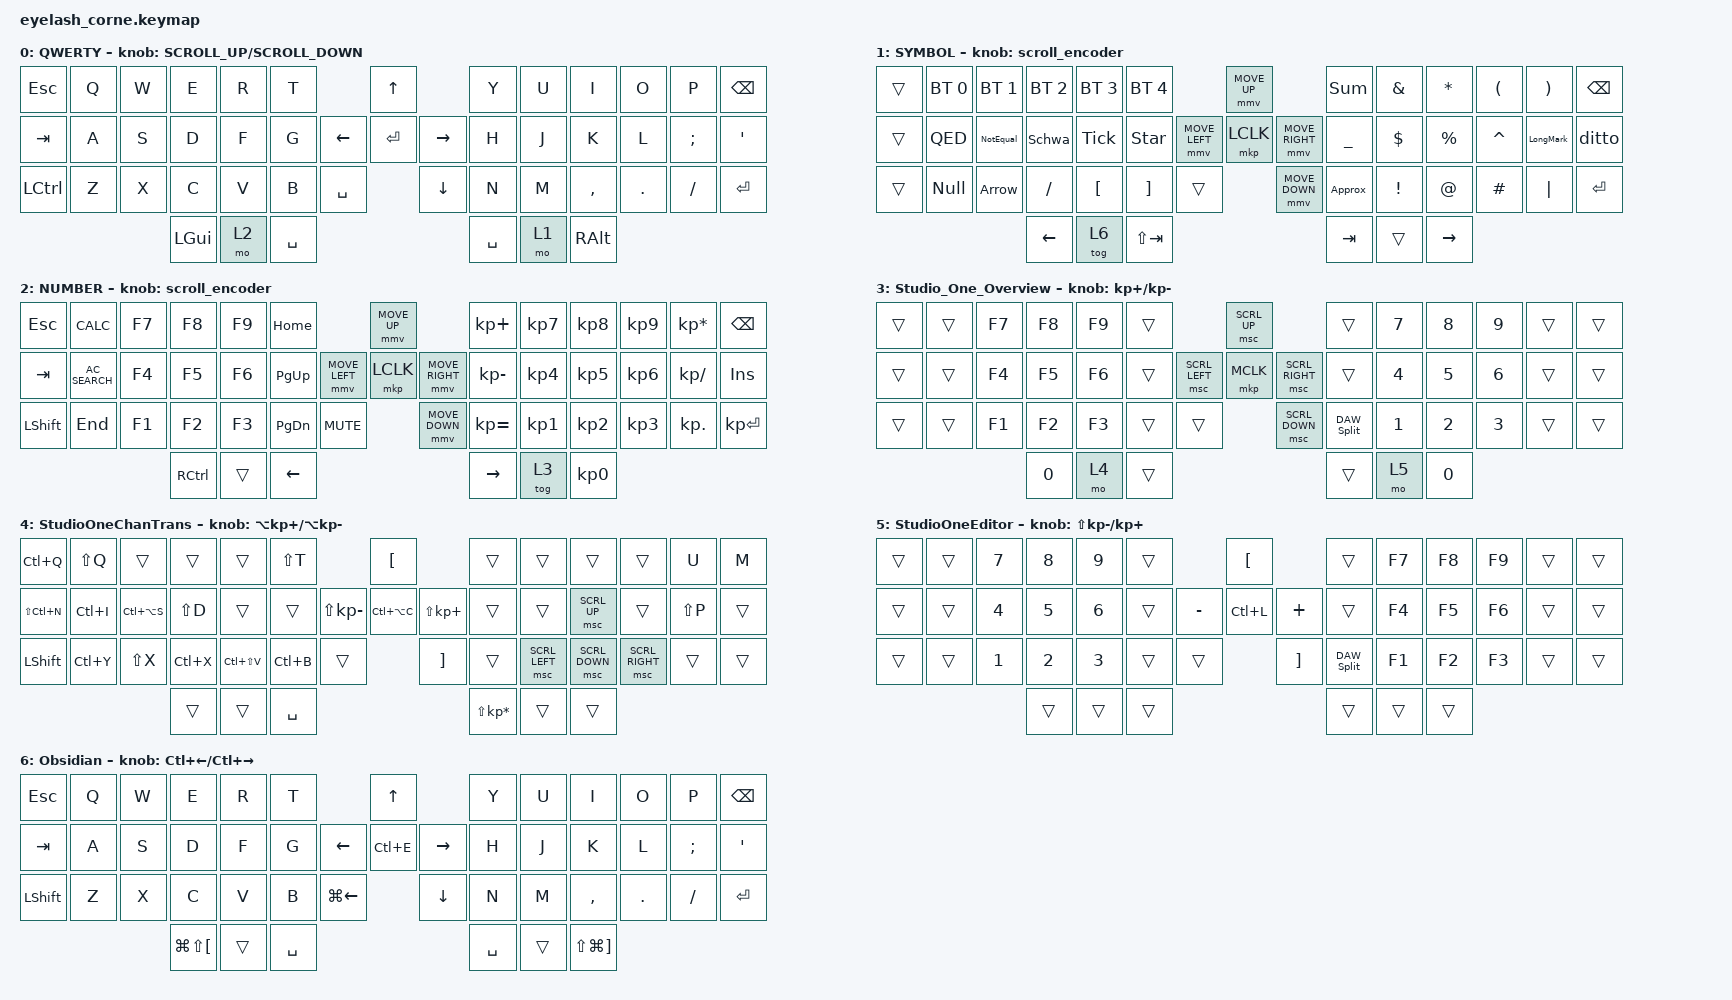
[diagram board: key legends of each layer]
#define ZMK_POINTING_DEFAULT_MOVE_VAL 1200  // 600
#define ZMK_POINTING_DEFAULT_SCRL_VAL 25   // 10

#include <input/processors.dtsi>
#include <zephyr/dt-bindings/input/input-event-codes.h>
#include <behaviors.dtsi>
#include <dt-bindings/zmk/bt.h>
#include <dt-bindings/zmk/keys.h>
#include <dt-bindings/zmk/pointing.h>
#include <dt-bindings/zmk/rgb.h>

&mmv_input_listener { input-processors = <&zip_xy_scaler 2 1>; };

&msc_input_listener { input-processors = <&zip_scroll_scaler 2 1>; };

&msc {
    acceleration-exponent = <1>;      // 0
    time-to-max-speed-ms = <100>;       // 300
    delay-ms = <0>;                   // 0
};

&mmv {
    time-to-max-speed-ms = <500>;
    acceleration-exponent = <1>;
    trigger-period-ms = <16>;
};

&soft_off { hold-time-ms = <2000>; };

/ {
    behaviors {
        td0: td0 {
            compatible = "zmk,behavior-tap-dance";
            display-name = "Shift/Caps Lock Tap Dance";
            #binding-cells = <0>;
            bindings = <&kp LEFT_SHIFT>, <&kp CAPS>;
        };
    };

    rgb_encoder: rgb_encoder {
        compatible = "zmk,behavior-sensor-rotate";
        #sensor-binding-cells = <0>;
        bindings = <&rgb_ug RGB_BRI>, <&rgb_ug RGB_BRD>;
    };

    scroll_encoder: scroll_encoder {
        compatible = "zmk,behavior-sensor-rotate";
        #sensor-binding-cells = <0>;
        bindings = <&msc SCRL_DOWN>, <&msc SCRL_UP>;

        tap-ms = <100>;
    };

    combos {
        compatible = "zmk,combos";

        softoff {
            bindings = <&soft_off>;
            key-positions = <1 15 29>;
        };
    };

    macros {
        Null: Null {
            compatible = "zmk,behavior-macro";
            #binding-cells = <0>;
            bindings = <&kp LT &kp O &kp S &kp L &kp A &kp S &kp H &kp GT>;
            label = "NULL";
        };

        Arrow: Arrow {
            compatible = "zmk,behavior-macro";
            #binding-cells = <0>;
            bindings = <&none &kp LT &kp MINUS &kp GT &kp GT>;
            label = "ARROW";
        };

        Star: Star {
            compatible = "zmk,behavior-macro";
            #binding-cells = <0>;
            bindings = <&none &kp LT &kp S &kp T &kp A &kp R &kp N1 &kp GT>;
            label = "STAR";
        };

        Tick: Tick {
            compatible = "zmk,behavior-macro";
            #binding-cells = <0>;
            bindings = <&none &kp LT &kp T &kp I &kp C &kp K &kp GT>;
            label = "TICK";
        };

        Schwa: Schwa {
            compatible = "zmk,behavior-macro";
            #binding-cells = <0>;
            bindings = <&none &kp LT &kp S &kp C &kp H &kp W &kp A &kp GT>;
            label = "SCHWA";
        };

        LongMark: LongMark {
            compatible = "zmk,behavior-macro";
            #binding-cells = <0>;
            bindings = <&none &kp LT &kp COLON &kp GT>;
            label = "LONGMARK";
        };

        UpArrow: UpArrow {
            compatible = "zmk,behavior-macro";
            #binding-cells = <0>;
            bindings = <&none &kp LT &kp U &kp P &kp N2 &kp GT>;
            label = "UPARROW";
        };

        DownArrow: DownArrow {
            compatible = "zmk,behavior-macro";
            #binding-cells = <0>;
            bindings = <&none &kp LT &kp D &kp O &kp W &kp N &kp N2 &kp GT>;
            label = "DOWNARROW";
        };

        LeftArrow: LeftArrow {
            compatible = "zmk,behavior-macro";
            #binding-cells = <0>;
            bindings = <&none &kp LT &kp L &kp E &kp F &kp T &kp N2 &kp GT>;
            label = "LEFTARROW";
        };

        RightArrow: RightArrow {
            compatible = "zmk,behavior-macro";
            #binding-cells = <0>;
            bindings = <&none &kp LT &kp R &kp I &kp G &kp H &kp T &kp N2 &kp GT>;
            label = "RIGHTARROW";
        };

        NotEqual: NotEqual {
            compatible = "zmk,behavior-macro";
            #binding-cells = <0>;
            bindings = <&none &kp LT &kp N &kp O &kp T &kp GT>;
            label = "NOTEQUAL";
        };

        Approx: Approx {
            compatible = "zmk,behavior-macro";
            #binding-cells = <0>;
            bindings = <&none &kp LT &kp A &kp P &kp P &kp R &kp O &kp X &kp GT>;
            label = "APPROX";
        };

        Sum: Sum {
            compatible = "zmk,behavior-macro";
            #binding-cells = <0>;
            bindings = <&none &kp LT &kp S &kp I &kp G &kp M &kp A &kp N2 &kp GT>;
            label = "SUM";
        };

        QED: QED {
            compatible = "zmk,behavior-macro";
            #binding-cells = <0>;
            bindings = <&none &kp LT &kp T &kp H &kp U &kp S &kp GT>;
            label = "QED";
        };

        So: So {
            compatible = "zmk,behavior-macro";
            #binding-cells = <0>;
            bindings = <&none &kp LT &kp S &kp O &kp GT>;
            label = "SO";
        };

        ditto: ditto {
            compatible = "zmk,behavior-macro";
            #binding-cells = <0>;
            bindings = <&none &kp LT &kp D &kp I &kp T &kp T &kp O &kp GT>;
            label = "DITTO";
        };

        Paragraph: Paragraph {
            compatible = "zmk,behavior-macro";
            #binding-cells = <0>;
            bindings = <&none &kp LT &kp P &kp A &kp R &kp A &kp GT>;
            label = "PARAGRAPH";
        };

        SpaceSymb: SpaceSymb {
            compatible = "zmk,behavior-macro";
            #binding-cells = <0>;
            bindings = <&none &kp LT &kp S &kp P &kp A &kp C &kp E &kp GT>;
            label = "SPACESYMB";
        };

        DAW_Split: DAW_Split_Play {
            compatible = "zmk,behavior-macro";
            #binding-cells = <0>;
            bindings = <&none &kp LEFT_ALT &kp X>;
            label = "DAW_SPLIT_PLAY";
        };

        DAW_TrackSpecial: DAW_TrackSpecial {
            compatible = "zmk,behavior-macro";
            #binding-cells = <0>;
            bindings = <&none &kp LEFT_SHIFT &kp B>;
            label = "DAW_TRACKSPECIAL";
        };

        DAW_NextMarker: DAW_NextMarker {
            compatible = "zmk,behavior-macro";
            #binding-cells = <0>;
            bindings = <&none &kp LEFT_SHIFT &kp N>;
            label = "DAW_NEXTMARKER";
        };

        DAW_PrevBar: DAW_PrevBar {
            compatible = "zmk,behavior-macro";
            #binding-cells = <0>;
            bindings = <&none &kp LEFT_SHIFT &kp KP_MINUS>;
            label = "DAW_PREVBAR";
        };

        DAW_NextBar: DAW_NextBar {
            compatible = "zmk,behavior-macro";
            #binding-cells = <0>;
            bindings = <&none &kp LEFT_SHIFT &kp PLUS>;
            label = "DAW_NEXTBAR";
        };

        prevmarker: prevmarker {
            compatible = "zmk,behavior-macro";
            #binding-cells = <0>;
            bindings = <&none &kp LEFT_SHIFT &kp B>;
            label = "PREVMARKER";
        };
    };

    keymap {
        compatible = "zmk,keymap";

        default_layer {
            display-name = "QWERTY";
            bindings = <
&kp ESCAPE  &kp Q  &kp W  &kp E     &kp R  &kp T                             &kp UP                &kp Y      &kp U  &kp I      &kp O    &kp P     &kp BSPC
&kp TAB     &kp A  &kp S  &kp D     &kp F  &kp G                   &kp LEFT  &kp ENTER  &kp RIGHT  &kp H      &kp J  &kp K      &kp L    &kp SEMI  &kp SQT
&kp LCTRL   &kp Z  &kp X  &kp C     &kp V  &kp B      &kp SPACE              &kp DOWN              &kp N      &kp M  &kp COMMA  &kp DOT  &kp FSLH  &kp ENTER
                          &kp LGUI  &mo 2  &kp SPACE                                               &kp SPACE  &mo 1  &kp RALT
            >;

            sensor-bindings = <&inc_dec_kp K_SCROLL_UP K_SCROLL_DOWN>;
        };

        Symbols {
            display-name = "SYMBOL";
            bindings = <
&trans  &bt BT_SEL 0  &bt BT_SEL 1  &bt BT_SEL 2  &bt BT_SEL 3      &bt BT_SEL 4                                 &mmv MOVE_UP                     &Sum       &kp AMPS         &kp ASTRK    &kp LPAR   &kp RPAR   &kp BSPC
&trans  &QED          &NotEqual     &Schwa        &Tick             &Star                        &mmv MOVE_LEFT  &mkp LCLK       &mmv MOVE_RIGHT  &kp UNDER  &kp DLLR         &kp PRCNT    &kp CARET  &LongMark  &ditto
&trans  &Null         &Arrow        &kp SLASH     &kp LEFT_BRACKET  &kp RIGHT_BRACKET  &trans                    &mmv MOVE_DOWN                   &Approx    &kp EXCLAMATION  &kp AT_SIGN  &kp HASH   &kp PIPE   &kp ENTER
                                    &kp LEFT      &tog 6            &kp LS(TAB)                                                                   &kp TAB    &trans           &kp RIGHT
            >;

            sensor-bindings = <&scroll_encoder>;
        };

        Numbers {
            display-name = "NUMBER";
            bindings = <
&kp ESCAPE      &kp K_CALC       &kp F7  &kp F8     &kp F9  &kp HOME                                 &mmv MOVE_UP                     &kp KP_PLUS   &kp KP_NUMBER_7  &kp KP_NUMBER_8  &kp KP_NUMBER_9  &kp KP_ASTERISK  &kp BSPC
&kp TAB         &kp C_AC_SEARCH  &kp F4  &kp F5     &kp F6  &kp PG_UP                &mmv MOVE_LEFT  &mkp LCLK       &mmv MOVE_RIGHT  &kp KP_MINUS  &kp KP_NUMBER_4  &kp KP_NUMBER_5  &kp KP_NUMBER_6  &kp KP_DIVIDE    &kp INSERT
&kp LEFT_SHIFT  &kp END          &kp F1  &kp F2     &kp F3  &kp PG_DN  &kp C_MUTE                    &mmv MOVE_DOWN                   &kp KP_EQUAL  &kp KP_NUMBER_1  &kp KP_NUMBER_2  &kp KP_NUMBER_3  &kp KP_DOT       &kp KP_ENTER
                                         &kp RCTRL  &trans  &kp LEFT                                                                  &kp RIGHT     &tog 3           &kp KP_NUMBER_0
            >;

            sensor-bindings = <&scroll_encoder>;
        };

        Studio_One_Overview {
            bindings = <
&trans  &trans  &kp F7  &kp F8  &kp F9  &trans                            &msc SCRL_UP                     &trans      &kp N7        &kp N8        &kp N9        &trans  &trans
&trans  &trans  &kp F4  &kp F5  &kp F6  &trans            &msc SCRL_LEFT  &mkp MCLK       &msc SCRL_RIGHT  &trans      &kp NUMBER_4  &kp N5        &kp NUMBER_6  &trans  &trans
&trans  &trans  &kp F1  &kp F2  &kp F3  &trans  &trans                    &msc SCRL_DOWN                   &DAW_Split  &kp NUMBER_1  &kp NUMBER_2  &kp NUMBER_3  &trans  &trans
                        &kp N0  &mo 4   &trans                                                             &trans      &mo 5         &kp N0
            >;

            sensor-bindings = <&inc_dec_kp KP_PLUS KP_MINUS>;
        };

        StudioOneChanTrans {
            bindings = <
&kp LC(Q)       &kp LS(Q)  &trans         &trans     &trans         &kp LS(T)                              &kp LEFT_BRACKET                    &trans               &trans          &trans          &trans           &kp U      &kp M
&kp LS(LC(N))   &kp LC(I)  &kp LC(LA(S))  &kp LS(D)  &trans         &trans               &kp LS(KP_MINUS)  &kp LC(LA(C))      &kp LS(KP_PLUS)  &trans               &trans          &msc SCRL_UP    &trans           &kp LS(P)  &trans
&kp LEFT_SHIFT  &kp LC(Y)  &kp LS(X)      &kp LC(X)  &kp LC(LS(V))  &kp LC(B)  &trans                      &kp RIGHT_BRACKET                   &trans               &msc SCRL_LEFT  &msc SCRL_DOWN  &msc SCRL_RIGHT  &trans     &trans
                                          &trans     &trans         &kp SPACE                                                                  &kp LS(KP_ASTERISK)  &trans          &trans
            >;

            sensor-bindings = <&inc_dec_kp LA(KP_PLUS) LA(KP_MINUS)>;
        };

        StudioOneEditor {
            bindings = <
&trans  &trans  &kp N7  &kp N8  &kp N9  &trans                       &kp LEFT_BRACKET             &trans      &kp F7  &kp F8  &kp F9  &trans  &trans
&trans  &trans  &kp N4  &kp N5  &kp N6  &trans            &kp MINUS  &kp LC(L)          &kp PLUS  &trans      &kp F4  &kp F5  &kp F6  &trans  &trans
&trans  &trans  &kp N1  &kp N2  &kp N3  &trans  &trans               &kp RIGHT_BRACKET            &DAW_Split  &kp F1  &kp F2  &kp F3  &trans  &trans
                        &trans  &trans  &trans                                                    &trans      &trans  &trans
            >;

            sensor-bindings = <&inc_dec_kp LS(KP_SUBTRACT) KP_PLUS>;
        };

        Obsidian {
            bindings = <
&kp ESC    &kp Q  &kp W  &kp E                     &kp R   &kp T                                &kp UP                &kp Y      &kp U   &kp I                      &kp O    &kp P     &kp BSPC
&kp TAB    &kp A  &kp S  &kp D                     &kp F   &kp G                      &kp LEFT  &kp LC(E)  &kp RIGHT  &kp H      &kp J   &kp K                      &kp L    &kp SEMI  &kp SQT
&kp LSHFT  &kp Z  &kp X  &kp C                     &kp V   &kp B      &kp LG(LEFT)              &kp DOWN              &kp N      &kp M   &kp COMMA                  &kp DOT  &kp FSLH  &kp RET
                         &kp LG(LS(LEFT_BRACKET))  &trans  &kp SPACE                                                  &kp SPACE  &trans  &kp LS(LG(RIGHT_BRACKET))
            >;

            sensor-bindings = <&inc_dec_kp LC(LEFT) LC(RIGHT)>;
        };
    };
};
